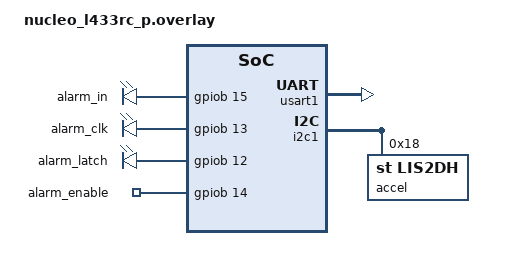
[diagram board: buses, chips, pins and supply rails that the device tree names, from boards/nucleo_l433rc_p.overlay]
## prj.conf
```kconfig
CONFIG_STDOUT_CONSOLE=y
CONFIG_I2C=y
CONFIG_SENSOR=y
CONFIG_CBPRINTF_FP_SUPPORT=y
CONFIG_NEWLIB_LIBC=y
CONFIG_NEWLIB_LIBC_FLOAT_PRINTF=y
CONFIG_LIS2DH=y
CONFIG_LIS2DH_TRIGGER_GLOBAL_THREAD=y
CONFIG_GPIO=y
CONFIG_UART_CONSOLE=y
```

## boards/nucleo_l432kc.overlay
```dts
&i2c1 {
	status = "okay";
	accel: accelerometer@18 {
		status = "okay";
		compatible = "st,lis2dh";
		reg = <0x18>;
	};
};
```

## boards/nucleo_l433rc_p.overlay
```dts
/ {
	chosen {
		zephyr,console = &usart1;
	};
    alarmgpio: alarmgpio {
        compatible = "gpio-leds";
        alarm_in: alarm_in {
            gpios = <&gpiob 15 GPIO_ACTIVE_HIGH>;
        };
        alarm_clk: alarm_clk {
            gpios = <&gpiob 13 GPIO_ACTIVE_HIGH>;
        };
        alarm_latch: alarm_latch {
            gpios = <&gpiob 12 GPIO_ACTIVE_HIGH>;
        };
        alarm_enable: alarm_enable {
            gpios = <&gpiob 14 GPIO_ACTIVE_HIGH>;
        };
    };
};

&usart1 {
	status = "okay";
};

&i2c1 {
	status = "okay";
	accel: accelerometer@18 {
		status = "okay";
		compatible = "st,lis2dh";
		reg = <0x18>;
	};
};
```

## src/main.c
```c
/*
 * Copyright (c) 2019 Nordic Semiconductor ASA
 *
 * SPDX-License-Identifier: Apache-2.0
 */

#include <stdio.h>
#include <zephyr/kernel.h>
#include <zephyr/device.h>
#include <zephyr/drivers/sensor.h>
#include <zephyr/devicetree.h>
#include <stdlib.h>
#include <string.h>
#include <stddef.h>
#include <stdint.h>
#include <zephyr/sys/printk.h>
#include <zephyr/sys/util.h>
#include <zephyr/drivers/gpio.h>

 static const struct gpio_dt_spec alarm_in = GPIO_DT_SPEC_GET(DT_NODELABEL(alarm_in), gpios);
static const struct gpio_dt_spec alarm_clk = GPIO_DT_SPEC_GET(DT_NODELABEL(alarm_clk), gpios);
static const struct gpio_dt_spec alarm_latch = GPIO_DT_SPEC_GET(DT_NODELABEL(alarm_latch), gpios);
static const struct gpio_dt_spec alarm_enable = GPIO_DT_SPEC_GET(DT_NODELABEL(alarm_enable), gpios);

void set_alarms(uint16_t bitmask) {
	for (int i = 0; i < 16; i++) {
		gpio_pin_set_dt(&alarm_clk, 0);
		k_usleep(1);
		if (bitmask & (0x0001 << i)) {
			printk("LED %d ON\r\n", i);
			gpio_pin_set_dt(&alarm_in, 1);
		} else {
			gpio_pin_set_dt(&alarm_in, 0);
		}
		k_usleep(1);
		gpio_pin_set_dt(&alarm_clk, 1);
		k_usleep(1);
		gpio_pin_set_dt(&alarm_clk, 0);
	}
	gpio_pin_set_dt(&alarm_latch, 1);
	k_usleep(1);
	gpio_pin_set_dt(&alarm_latch, 0);
}
 
 static void fetch_and_display(const struct device *sensor)
 {
	 static unsigned int count;
	 struct sensor_value accel[3];
	 struct sensor_value temperature;
	 const char *overrun = "";
	 int rc = sensor_sample_fetch(sensor);
 
	 ++count;
	 if (rc == -EBADMSG) {
		 /* Sample overrun.  Ignore in polled mode. */
		 if (IS_ENABLED(CONFIG_LIS2DH_TRIGGER)) {
			 overrun = "[OVERRUN] ";
		 }
		 rc = 0;
	 }
	 if (rc == 0) {
		 rc = sensor_channel_get(sensor,
					 SENSOR_CHAN_ACCEL_XYZ,
					 accel);
	 }
	 if (rc < 0) {
		 printk("ERROR: Update failed: %d\n", rc);
	 } else {
		 printk("#%u @ %u ms: %sx %f , y %f , z %f",
				count, k_uptime_get_32(), overrun,
				sensor_value_to_double(&accel[0]),
				sensor_value_to_double(&accel[1]),
				sensor_value_to_double(&accel[2]));
	 }
 
	 if (IS_ENABLED(CONFIG_LIS2DH_MEASURE_TEMPERATURE)) {
		 if (rc == 0) {
			 rc = sensor_channel_get(sensor, SENSOR_CHAN_DIE_TEMP, &temperature);
			 if (rc < 0) {
				 printk("\nERROR: Unable to read temperature:%d\n", rc);
			 } else {
				 printk(", t %f\n", sensor_value_to_double(&temperature));
			 }
		 }
 
	 } else {
		 printk("\n");
	 }
 }
 
 int main(void)
 {

	gpio_pin_configure_dt(&alarm_in, GPIO_OUTPUT_INACTIVE);
	gpio_pin_configure_dt(&alarm_clk, GPIO_OUTPUT_INACTIVE);
	gpio_pin_configure_dt(&alarm_latch, GPIO_OUTPUT_INACTIVE);
	gpio_pin_configure_dt(&alarm_enable, GPIO_OUTPUT_INACTIVE);
	 const struct device *const sensor = DEVICE_DT_GET(DT_NODELABEL(accel));
 
	 if (sensor == NULL) {
		 printk("No device found\n");
		 return 0;
	 }
	 if (!device_is_ready(sensor)) {
		 printk("Device %s is not ready\n", sensor->name);
		 return 0;
	 }

	 printk("Polling at 0.5 Hz\n");
	 while (true) {
		 fetch_and_display(sensor);
		 k_msleep(200);
	 }
 }
 
```
